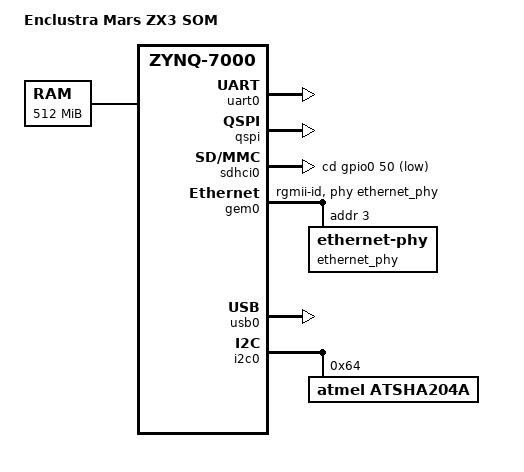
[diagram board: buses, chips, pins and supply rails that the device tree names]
/*
 * Enclustra Mars ZX3 SOM on EB1 devicetree
 *
 * Copyright (C) 2015 Antmicro Ltd
 *
 * SPDX-License-Identifier:	GPL-2.0+
 */
/dts-v1/;
#include "zynq-7000.dtsi"
#include <dt-bindings/gpio/gpio.h>

/ {
	model = "Enclustra Mars ZX3 SOM";
	compatible = "xlnx,zynq-7000";

	aliases {
		ethernet0 = &gem0;
		mmc0 = &sdhci0;
		serial0 = &uart0;
		spi0 = &qspi;
		usb0 = &usb0;
		gpio0 = &gpio0;
		i2c0 = &i2c0;
	};

	memory {
		device_type = "memory";
		reg = <0 0x20000000>;
	};
};

&uart0 {
	u-boot,dm-pre-reloc;
	status = "okay";
};

&qspi {
	u-boot,dm-pre-reloc;
	status = "okay";
	is-dual = <0>;
	num-cs = <1>;
};

&sdhci0 {
	u-boot,dm-pre-reloc;
	status = "okay";
	cd-gpios = <&gpio0 50 GPIO_ACTIVE_LOW>;
};

&gem0 {
	u-boot,dm-pre-reloc;
	status = "okay";
	phy-handle = <&ethernet_phy>;
	phy-mode = "rgmii-id";
	ethernet_phy: ethernet-phy@3 {
		reg = <3>;
	};
};

&usb0 {
	status = "okay";
};

&i2c0 {
	status = "okay";
	atsha204a@64 {
		compatible = "atmel,atsha204a";
		reg = <0x64>;
	};
};
